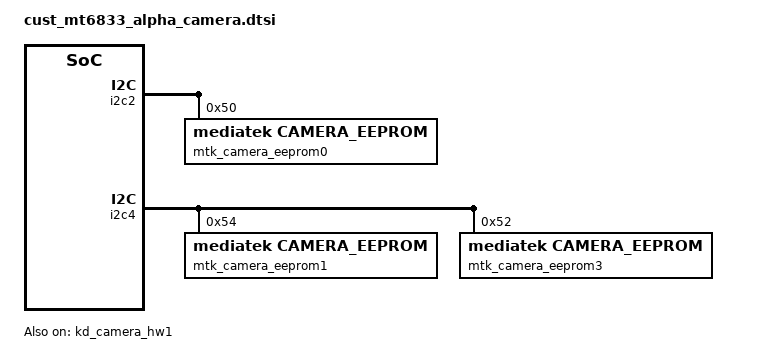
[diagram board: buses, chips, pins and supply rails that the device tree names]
/* SPDX-License-Identifier: GPL-2.0 */
/*
 * Copyright (c) 2019 MediaTek Inc.
*/
/* CAMERA GPIO standardization */
&pio {
	camera_pins_cam0_rst_0: cam0@0 {
		pins_cmd_dat {
			pinmux = <PINMUX_GPIO54__FUNC_GPIO54>;
			slew-rate = <1>;
			output-low;
		};
	};
	camera_pins_cam0_rst_1: cam0@1 {
		pins_cmd_dat {
			pinmux = <PINMUX_GPIO54__FUNC_GPIO54>;
			slew-rate = <1>;
			output-high;
		};
	};
	camera_pins_cam1_rst_0: cam1@0 {
		pins_cmd_dat {
			pinmux = <PINMUX_GPIO60__FUNC_GPIO60>;
			slew-rate = <1>;
			output-low;
		};
	};
	camera_pins_cam1_rst_1: cam1@1 {
		pins_cmd_dat {
			pinmux = <PINMUX_GPIO60__FUNC_GPIO60>;
			slew-rate = <1>;
			output-high;
		};
	};
	camera_pins_cam2_rst_0: cam2@0 {
		pins_cmd_dat {
			pinmux = <PINMUX_GPIO58__FUNC_GPIO58>;
			slew-rate = <1>;
			output-low;
		};
	};
	camera_pins_cam2_rst_1: cam2@1 {
		pins_cmd_dat {
			pinmux = <PINMUX_GPIO58__FUNC_GPIO58>;
			slew-rate = <1>;
			output-high;
		};
	};
	camera_pins_cam3_rst_0: cam3@0 {
		pins_cmd_dat {
			pinmux = <PINMUX_GPIO56__FUNC_GPIO56>;
			slew-rate = <1>;
			output-low;
		};
	};
	camera_pins_cam3_rst_1: cam3@1 {
		pins_cmd_dat {
			pinmux = <PINMUX_GPIO56__FUNC_GPIO56>;
			slew-rate = <1>;
			output-high;
		};
	};
	camera_pins_cam0_vcama_0: cam0@vcam2 {
		pins_cmd_dat {
			pinmux = <PINMUX_GPIO94__FUNC_GPIO94>;
			slew-rate = <1>;
			output-low;
		};
	};
	camera_pins_cam0_vcama_1: cam0@vcam3 {
		pins_cmd_dat {
			pinmux = <PINMUX_GPIO94__FUNC_GPIO94>;
			slew-rate = <1>;
			output-high;
		};
	};
	camera_pins_cam1_vcama_0: cam1@vcam2 {
		pins_cmd_dat {
			pinmux = <PINMUX_GPIO92__FUNC_GPIO92>;
			slew-rate = <1>;
			output-low;
		};
	};
	camera_pins_cam1_vcama_1: cam1@vcam3 {
		pins_cmd_dat {
			pinmux = <PINMUX_GPIO92__FUNC_GPIO92>;
			slew-rate = <1>;
			output-high;
		};
	};
	camera_pins_cam2_vcama_0: cam2@vcam2 {
		pins_cmd_dat {
			pinmux = <PINMUX_GPIO92__FUNC_GPIO92>;
			slew-rate = <1>;
			output-low;
		};
	};
	camera_pins_cam2_vcama_1: cam2@vcam3 {
		pins_cmd_dat {
			pinmux = <PINMUX_GPIO92__FUNC_GPIO92>;
			slew-rate = <1>;
			output-high;
		};
	};
	camera_pins_cam3_vcama_0: cam3@vcam2 {
		pins_cmd_dat {
			pinmux = <PINMUX_GPIO92__FUNC_GPIO92>;
			slew-rate = <1>;
			output-low;
		};
	};
	camera_pins_cam3_vcama_1: cam3@vcam3 {
		pins_cmd_dat {
			pinmux = <PINMUX_GPIO92__FUNC_GPIO92>;
			slew-rate = <1>;
			output-high;
		};
	};
	camera_pins_cam0_mclk_off: camera_pins_cam0_mclk_off {
		pins_cmd_dat {
			pinmux = <PINMUX_GPIO49__FUNC_GPIO49>;
			drive-strength = <1>;
		};
	};
	camera_pins_cam0_mclk_2ma: camera_pins_cam0_mclk_2ma {
		pins_cmd_dat {
			pinmux = <PINMUX_GPIO49__FUNC_CMMCLK0>;
			drive-strength = <0>;
		};
	};
	camera_pins_cam0_mclk_4ma: camera_pins_cam0_mclk_4ma {
		pins_cmd_dat {
			pinmux = <PINMUX_GPIO49__FUNC_CMMCLK0>;
			drive-strength = <1>;
		};
	};
	camera_pins_cam0_mclk_6ma: camera_pins_cam0_mclk_6ma {
		pins_cmd_dat {
			pinmux = <PINMUX_GPIO49__FUNC_CMMCLK0>;
			drive-strength = <2>;
		};
	};
	camera_pins_cam0_mclk_8ma: camera_pins_cam0_mclk_8ma {
		pins_cmd_dat {
			pinmux = <PINMUX_GPIO49__FUNC_CMMCLK0>;
			drive-strength = <3>;
		};
	};
	camera_pins_cam1_mclk_off: camera_pins_cam1_mclk_off {
		pins_cmd_dat {
			pinmux = <PINMUX_GPIO52__FUNC_GPIO52>;
			drive-strength = <1>;
		};
	};
	camera_pins_cam1_mclk_2ma: camera_pins_cam1_mclk_2ma {
		pins_cmd_dat {
			pinmux = <PINMUX_GPIO52__FUNC_CMMCLK3>;
			drive-strength = <0>;
		};
	};
	camera_pins_cam1_mclk_4ma: camera_pins_cam1_mclk_4ma {
		pins_cmd_dat {
			pinmux = <PINMUX_GPIO52__FUNC_CMMCLK3>;
			drive-strength = <1>;
		};
	};
	camera_pins_cam1_mclk_6ma: camera_pins_cam1_mclk_6ma {
		pins_cmd_dat {
			pinmux = <PINMUX_GPIO52__FUNC_CMMCLK3>;
			drive-strength = <2>;
		};
	};
	camera_pins_cam1_mclk_8ma: camera_pins_cam1_mclk_8ma {
		pins_cmd_dat {
			pinmux = <PINMUX_GPIO52__FUNC_CMMCLK3>;
			drive-strength = <3>;
		};
	};
	camera_pins_cam2_mclk_off: camera_pins_cam2_mclk_off {
		pins_cmd_dat {
			pinmux = <PINMUX_GPIO51__FUNC_GPIO51>;
			drive-strength = <1>;
		};
	};
	camera_pins_cam2_mclk_2ma: camera_pins_cam2_mclk_2ma {
		pins_cmd_dat {
			pinmux = <PINMUX_GPIO51__FUNC_CMMCLK2>;
			drive-strength = <0>;
		};
	};
	camera_pins_cam2_mclk_4ma: camera_pins_cam2_mclk_4ma {
		pins_cmd_dat {
			pinmux = <PINMUX_GPIO51__FUNC_CMMCLK2>;
			drive-strength = <1>;
		};
	};
	camera_pins_cam2_mclk_6ma: camera_pins_cam2_mclk_6ma {
		pins_cmd_dat {
			pinmux = <PINMUX_GPIO51__FUNC_CMMCLK2>;
			drive-strength = <2>;
		};
	};
	camera_pins_cam2_mclk_8ma: camera_pins_cam2_mclk_8ma {
		pins_cmd_dat {
			pinmux = <PINMUX_GPIO51__FUNC_CMMCLK2>;
			drive-strength = <3>;
		};
	};
	camera_pins_cam3_mclk_off: camera_pins_cam3_mclk_off {
		pins_cmd_dat {
			pinmux = <PINMUX_GPIO50__FUNC_GPIO50>;
			drive-strength = <1>;
		};
	};
	camera_pins_cam3_mclk_2ma: camera_pins_cam3_mclk_2ma {
		pins_cmd_dat {
			pinmux = <PINMUX_GPIO50__FUNC_CMMCLK1>;
			drive-strength = <0>;
		};
	};
	camera_pins_cam3_mclk_4ma: camera_pins_cam3_mclk_4ma {
		pins_cmd_dat {
			pinmux = <PINMUX_GPIO50__FUNC_CMMCLK1>;
			drive-strength = <1>;
		};
	};
	camera_pins_cam3_mclk_6ma: camera_pins_cam3_mclk_6ma {
		pins_cmd_dat {
			pinmux = <PINMUX_GPIO50__FUNC_CMMCLK1>;
			drive-strength = <2>;
		};
	};
	camera_pins_cam3_mclk_8ma: camera_pins_cam3_mclk_8ma {
		pins_cmd_dat {
			pinmux = <PINMUX_GPIO50__FUNC_CMMCLK1>;
			drive-strength = <3>;
		};
	};
	camera_pins_default: camdefault {
	};
};
&kd_camera_hw1 {
	pinctrl-names = "default",
			"cam0_rst0", "cam0_rst1",
			"cam1_rst0", "cam1_rst1",
			"cam2_rst0", "cam2_rst1",
			"cam3_rst0", "cam3_rst1",
			"cam0_ldo_vcama_0", "cam0_ldo_vcama_1",
			"cam1_ldo_vcama_0", "cam1_ldo_vcama_1",
			"cam2_ldo_vcama_0", "cam2_ldo_vcama_1",
			"cam3_ldo_vcama_0", "cam3_ldo_vcama_1",
			"cam0_mclk_off",
			"cam0_mclk_2mA", "cam0_mclk_4mA",
			"cam0_mclk_6mA", "cam0_mclk_8mA",
			"cam1_mclk_off",
			"cam1_mclk_2mA", "cam1_mclk_4mA",
			"cam1_mclk_6mA", "cam1_mclk_8mA",
			"cam2_mclk_off",
			"cam2_mclk_2mA", "cam2_mclk_4mA",
			"cam2_mclk_6mA", "cam2_mclk_8mA",
			"cam3_mclk_off",
			"cam3_mclk_2mA", "cam3_mclk_4mA",
			"cam3_mclk_6mA", "cam3_mclk_8mA";
	pinctrl-0 = <&camera_pins_default>;
	pinctrl-1 = <&camera_pins_cam0_rst_0>;
	pinctrl-2 = <&camera_pins_cam0_rst_1>;
	pinctrl-3 = <&camera_pins_cam1_rst_0>;
	pinctrl-4 = <&camera_pins_cam1_rst_1>;
	pinctrl-5 = <&camera_pins_cam2_rst_0>;
	pinctrl-6 = <&camera_pins_cam2_rst_1>;
	pinctrl-7 = <&camera_pins_cam3_rst_0>;
	pinctrl-8 = <&camera_pins_cam3_rst_1>;
	pinctrl-9 = <&camera_pins_cam0_vcama_0>;
	pinctrl-10 = <&camera_pins_cam0_vcama_1>;
	pinctrl-11 = <&camera_pins_cam1_vcama_0>;
	pinctrl-12 = <&camera_pins_cam1_vcama_1>;
	pinctrl-13 = <&camera_pins_cam2_vcama_0>;
	pinctrl-14 = <&camera_pins_cam2_vcama_1>;
	pinctrl-15 = <&camera_pins_cam3_vcama_0>;
	pinctrl-16 = <&camera_pins_cam3_vcama_1>;
	pinctrl-17 = <&camera_pins_cam0_mclk_off>;
	pinctrl-18 = <&camera_pins_cam0_mclk_2ma>;
	pinctrl-19 = <&camera_pins_cam0_mclk_4ma>;
	pinctrl-20 = <&camera_pins_cam0_mclk_6ma>;
	pinctrl-21 = <&camera_pins_cam0_mclk_8ma>;
	pinctrl-22 = <&camera_pins_cam1_mclk_off>;
	pinctrl-23 = <&camera_pins_cam1_mclk_2ma>;
	pinctrl-24 = <&camera_pins_cam1_mclk_4ma>;
	pinctrl-25 = <&camera_pins_cam1_mclk_6ma>;
	pinctrl-26 = <&camera_pins_cam1_mclk_8ma>;
	pinctrl-27 = <&camera_pins_cam2_mclk_off>;
	pinctrl-28 = <&camera_pins_cam2_mclk_2ma>;
	pinctrl-29 = <&camera_pins_cam2_mclk_4ma>;
	pinctrl-30 = <&camera_pins_cam2_mclk_6ma>;
	pinctrl-31 = <&camera_pins_cam2_mclk_8ma>;
	pinctrl-32 = <&camera_pins_cam3_mclk_off>;
	pinctrl-33 = <&camera_pins_cam3_mclk_2ma>;
	pinctrl-34 = <&camera_pins_cam3_mclk_4ma>;
	pinctrl-35 = <&camera_pins_cam3_mclk_6ma>;
	pinctrl-36 = <&camera_pins_cam3_mclk_8ma>;


	cam0_vcamio-supply = <&mt_pmic_vcamio_ldo_reg>;
	cam1_vcamio-supply = <&mt_pmic_vcamio_ldo_reg>;
	cam2_vcamio-supply = <&mt_pmic_vcamio_ldo_reg>;
	cam3_vcamio-supply = <&mt_pmic_vcamio_ldo_reg>;

	cam0_vcamd-supply = <&mt_pmic_vcn13_ldo_reg>;
	cam1_vcamd-supply = <&mt_pmic_vcn13_ldo_reg>;

	vcammainaf-supply = <&mt_pmic_vtp_ldo_reg>;

	cam0_enable_sensor = "ov13b10_mipi_raw";
	cam1_enable_sensor = "imx355_mipi_raw";
	cam2_enable_sensor = "gc02m1b_mipi_mono";
	cam3_enable_sensor = "ov02b10_mipi_raw";

	status = "okay";
};
/* CAMERA GPIO end */

/* CAMERA EEPROM */
&i2c2 {
	mtk_camera_eeprom0:camera_eeprom0@50 {
		compatible = "mediatek,camera_eeprom";
		reg = <0x50>;
		status = "okay";
	};
};
&i2c4 {
	mtk_camera_eeprom1:camera_eeprom1@54 {
		compatible = "mediatek,camera_eeprom";
		reg = <0x54>;
		status = "okay";
	};
};
&i2c4 {
	mtk_camera_eeprom3:camera_eeprom3@52 {
		compatible = "mediatek,camera_eeprom";
		reg = <0x52>;
		status = "okay";
	};
};
/* CAMERA EEPROM end */
